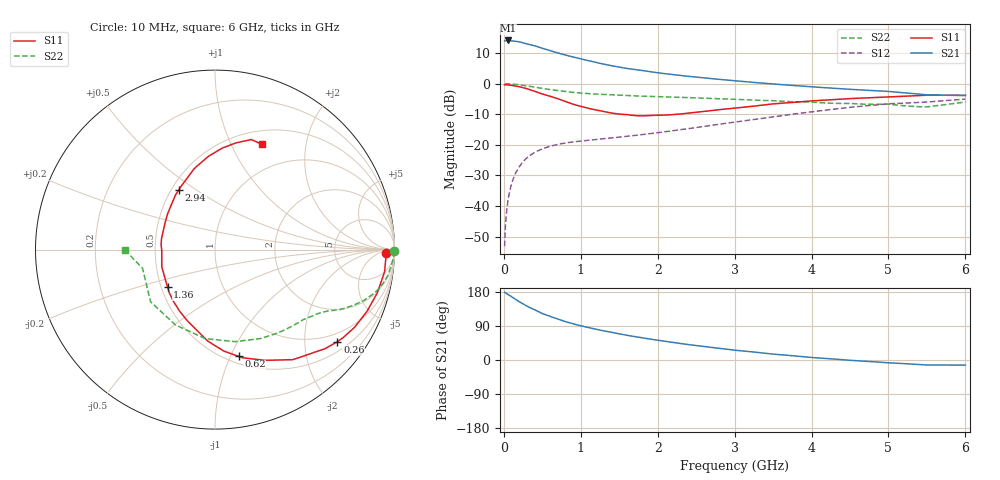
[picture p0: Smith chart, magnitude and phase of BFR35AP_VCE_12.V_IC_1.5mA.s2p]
! Infineon Technologies  Discrete & RF Semiconductors
! BFR35AP
! VCE =  12. V,  IC =  1.5 mA
! Common Emitter S-Parameters:  Nov 2015
# GHz  S  MA  R  50
!  f  S11  S21  S12  S22
! GHz  MAG  ANG  MAG  ANG  MAG  ANG  MAG  ANG
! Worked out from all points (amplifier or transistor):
!   210 points, 10 MHz to 6 GHz, reference 50 ohm
!   highest |S21| = 14.1 dB at 50 MHz (marker M1)
!   |S21| within 3 dB of that: start of sweep to 555.8 MHz
!   unconditionally stable (mu >= 1): 1.333 GHz to 3.293 GHz
!   at 185 MHz: K = 0.18, MSG = 20.8 dB, |S12| = -27.8 dB
!   at 1.52 GHz: K = 1.07, MAG = 9.8 dB, |S12| = -17.5 dB
!   at 6 GHz: K = 0.94, MSG = 0.6 dB, |S12| = -5.1 dB
!   S11 on the Smith chart (normalised r, x): 10 MHz: 35, -17; 260 MHz: 0.74, -2.81; 620 MHz: 0.57, -1.07; 1.36 GHz: 0.54, -0.26; 2.94 GHz: 0.55, +0.43; 6 GHz: 0.66, +1.32
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0.01  0.9552 -1.3  4.994 178.8  0.0022 84.8  0.9999 -0.6
0.025  0.9526 -3.6  4.99 176.5  0.0056 87.7  0.995 -1.4
0.05  0.953 -7.5  5.069 173.4  0.0113 84.0  0.9947 -2.9
0.09  0.9379 -13.5  5.003 168.5  0.0206 80.8  0.9854 -5.2
0.15  0.914 -22.1  4.912 159.9  0.0338 76.1  0.9737 -8.6
0.2  0.8903 -29.1  4.823 153.8  0.0435 73.1  0.9572 -11.1
0.26  0.8534 -37.0  4.586 147.0  0.0546 68.1  0.9338 -13.9
0.3  0.8244 -42.1  4.451 142.2  0.0611 65.8  0.9184 -15.4
0.4  0.7513 -54.7  4.165 132.4  0.0752 60.0  0.8747 -19.0
0.5  0.677 -65.7  3.779 122.6  0.0857 55.3  0.8313 -21.9
0.62  0.6093 -77.5  3.393 113.8  0.0958 51.2  0.7929 -24.3
0.8  0.5108 -94.6  2.923 101.4  0.1071 47.0  0.7427 -27.1
1.02  0.4174 -113.2  2.499 89.2  0.1158 45.1  0.6977 -29.9
1.36  0.3373 -141.6  2.004 74.5  0.1279 44.7  0.6587 -34.0
1.66  0.3037 -167.7  1.728 63.1  0.1398 46.6  0.6325 -37.7
2.02  0.3042 167.0  1.491 51.6  0.1586 49.2  0.6111 -42.9
2.94  0.3902 120.9  1.131 27.4  0.229 51.8  0.5592 -61.4
3.1  0.4089 115.6  1.086 24.0  0.2446 51.1  0.5476 -65.7
4.1  0.5296 92.2  0.869 5.3  0.3577 43.8  0.4886 -100.3
5.1  0.6132 77.3  0.726 -8.4  0.4732 28.9  0.4468 -145.4
5.5  0.6456 71.8  0.656 -13.2  0.4996 21.4  0.4168 -165.5
6  0.6423 66.1  0.638 -13.5  0.5574 16.5  0.4998 -179.5
